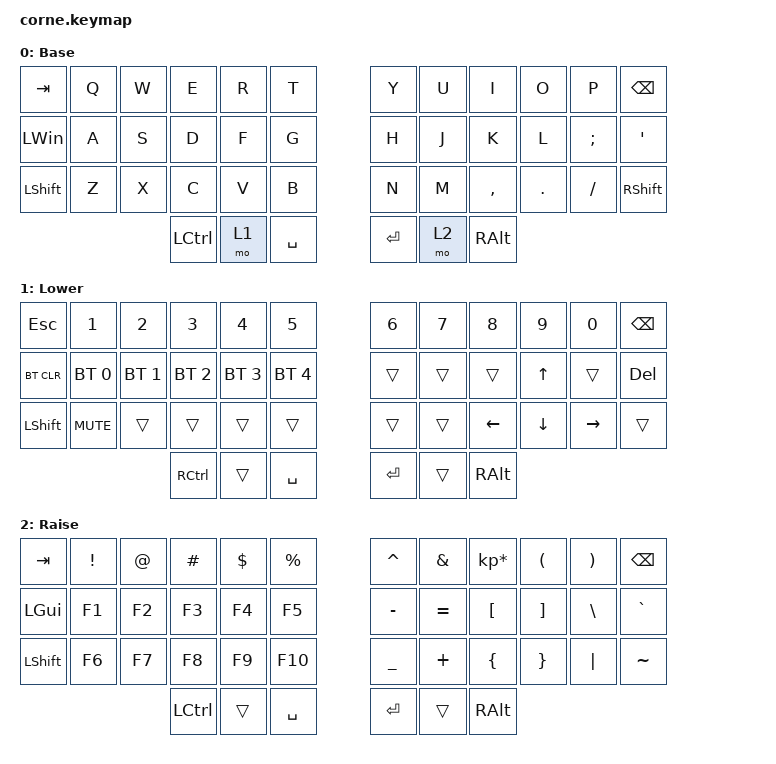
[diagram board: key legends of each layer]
/*
 * Copyright (c) 2020 The ZMK Contributors
 *
 * SPDX-License-Identifier: MIT
 */

#include <behaviors.dtsi>
#include <dt-bindings/zmk/bt.h>
#include <dt-bindings/zmk/keys.h>

/ {
    keymap {
        compatible = "zmk,keymap";

        default_layer {
            // -----------------------------------------------------------------------------------------
            // |  TAB |  Q  |  W  |  E  |  R  |  T  |   |  Y  |  U   |  I  |  O  |  P  | BKSP |
            // | GUI |  A  |  S  |  D  |  F  |  G  |   |  H  |  J   |  K  |  L  |  ;  |  '   |
            // | SHFT |  Z  |  X  |  C  |  V  |  B  |   |  N  |  M   |  ,  |  .  |  /  | SHFT  |
            //                    | CTRL | LWR | ENT |   | SPC | RSE  | ALT |

            label = "Base";
            bindings = <
&kp TAB       &kp Q  &kp W  &kp E             &kp R  &kp T        &kp Y      &kp U  &kp I      &kp O    &kp P     &kp BSPC
&kp LEFT_WIN  &kp A  &kp S  &kp D             &kp F  &kp G        &kp H      &kp J  &kp K      &kp L    &kp SEMI  &kp SQT
&kp LSHFT     &kp Z  &kp X  &kp C             &kp V  &kp B        &kp N      &kp M  &kp COMMA  &kp DOT  &kp FSLH  &kp RIGHT_SHIFT
                            &kp LEFT_CONTROL  &mo 1  &kp SPACE    &kp ENTER  &mo 2  &kp RALT
            >;
        };

        lower_layer {
            // -----------------------------------------------------------------------------------------
            // |  ESC |  1  |  2  |  3  |  4  |  5  |   |  6  |  7  |  8  |  9  |  0  | BKSP |
            // | BTCLR| BT1 | BT2 | BT3 | BT4 | BT5 |   | LFT | DWN |  UP | RGT |     | DEL  |
            // | SHFT |     |     |     |     |     |   |     |     |     |     |     |      |
            //                    | GUI |     | ENT |   | SPC |     | ALT |

            label = "Lower";
            bindings = <
&kp ESCAPE  &kp N1        &kp N2        &kp N3             &kp N4        &kp N5          &kp N6     &kp N7  &kp N8          &kp N9          &kp N0           &kp BSPC
&bt BT_CLR  &bt BT_SEL 0  &bt BT_SEL 1  &bt BT_SEL 2       &bt BT_SEL 3  &bt BT_SEL 4    &trans     &trans  &trans          &kp UP_ARROW    &trans           &kp DEL
&kp LSHFT   &kp C_MUTE    &trans        &trans             &trans        &trans          &trans     &trans  &kp LEFT_ARROW  &kp DOWN_ARROW  &kp RIGHT_ARROW  &trans
                                        &kp RIGHT_CONTROL  &trans        &kp SPACE       &kp ENTER  &trans  &kp RALT
            >;
        };

        raise_layer {
            // -----------------------------------------------------------------------------------------
            // |  TAB |  !  |  @  |  #  |  $  |  %  |   |  ^  |  &  |  *  |  (  |  )  | BKSP |
            // | GUI |     |     |     |     |     |   |  -  |  =  |  [  |  ]  |  \  |  `   |
            // | SHFT |     |     |     |     |     |   |  _  |  +  |  {  |  }  | "|" |  ~   |
            //                    | CTRL |     | ENT |   | SPC |     | ALT |

            label = "Raise";
            bindings = <
&kp TAB       &kp EXCL  &kp AT  &kp HASH          &kp DLLR  &kp PRCNT    &kp CARET  &kp AMPS   &kp KP_MULTIPLY  &kp LPAR  &kp RPAR  &kp BSPC
&kp LEFT_GUI  &kp F1    &kp F2  &kp F3            &kp F4    &kp F5       &kp MINUS  &kp EQUAL  &kp LBKT         &kp RBKT  &kp BSLH  &kp GRAVE
&kp LSHFT     &kp F6    &kp F7  &kp F8            &kp F9    &kp F10      &kp UNDER  &kp PLUS   &kp LBRC         &kp RBRC  &kp PIPE  &kp TILDE
                                &kp LEFT_CONTROL  &trans    &kp SPACE    &kp ENTER  &trans     &kp RALT
            >;
        };
    };
};
